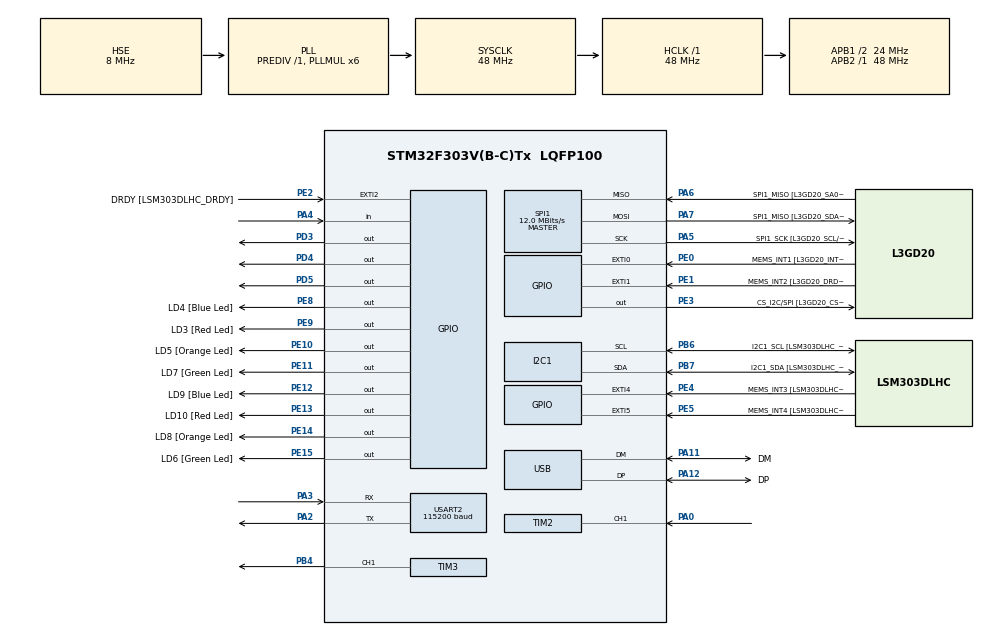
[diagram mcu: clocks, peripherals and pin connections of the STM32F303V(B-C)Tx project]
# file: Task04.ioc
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I2C1.Timing=0x2000090E
I2C1.Timing-I2C=0x2000090E
Mcu.Family=STM32F3
Mcu.Name=STM32F303V(B-C)Tx
Mcu.Package=LQFP100
NVIC.PriorityGroup=NVIC_PRIORITYGROUP_0
NVIC.TIM2_IRQn=true\:0\:0\:false\:false\:true\:true\:true\:true
NVIC.TIM3_IRQn=true\:0\:0\:false\:false\:true\:true\:true\:true
PA0.GPIO_PuPd=GPIO_NOPULL
PA0.Signal=S_TIM2_CH1_ETR
PA11.GPIO_Label=DM
PA11.Mode=Device
PA11.Signal=USB_DM
PA12.GPIO_Label=DP
PA12.Mode=Device
PA12.Signal=USB_DP
PA13.GPIO_Label=SWDIO
PA13.Mode=Serial_Wire
PA13.Signal=SYS_JTMS-SWDIO
PA14.GPIO_Label=SWCLK
PA14.Mode=Serial_Wire
PA14.Signal=SYS_JTCK-SWCLK
PA2.Mode=Asynchronous
PA2.Signal=USART2_TX
PA3.Mode=Asynchronous
PA3.Signal=USART2_RX
PA4.Signal=GPIO_Input
PA5.GPIO_Label=SPI1_SCK [L3GD20_SCL/SPC]
PA5.Mode=Full_Duplex_Master
PA5.Signal=SPI1_SCK
PA6.GPIO_Label=SPI1_MISO [L3GD20_SA0/SDO]
PA6.Mode=Full_Duplex_Master
PA6.Signal=SPI1_MISO
PA7.GPIO_Label=SPI1_MISO [L3GD20_SDA/SDI/SDO]
PA7.Mode=Full_Duplex_Master
PA7.Signal=SPI1_MOSI
PB3.GPIO_Label=SWO
PB3.Signal=SYS_JTDO-TRACESWO
PB4.GPIO_PuPd=GPIO_PULLUP
PB4.Signal=S_TIM3_CH1
PB6.GPIO_Label=I2C1_SCL [LSM303DLHC_SCL]
PB6.GPIO_Pu=GPIO_PULLUP
PB6.Mode=I2C
PB6.Signal=I2C1_SCL
PB7.GPIO_Label=I2C1_SDA [LSM303DLHC_SDA]
PB7.GPIO_Pu=GPIO_PULLUP
PB7.Mode=I2C
PB7.Signal=I2C1_SDA
PC14-OSC32_IN.GPIO_Label=OSC32_IN
PC14-OSC32_IN.Signal=RCC_OSC32_IN
PC15-OSC32_OUT.GPIO_Label=OSC32_OUT
PC15-OSC32_OUT.Signal=RCC_OSC32_OUT
PD3.Signal=GPIO_Output
PD4.Signal=GPIO_Output
PD5.Signal=GPIO_Output
PE0.GPIO_Label=MEMS_INT1 [L3GD20_INT1]
PE0.GPIO_ModeDefaultEXTI=GPIO_MODE_EVT_RISING
PE0.Signal=GPXTI0
PE1.GPIO_Label=MEMS_INT2 [L3GD20_DRDY/INT2]
PE1.GPIO_ModeDefaultEXTI=GPIO_MODE_EVT_RISING
PE1.Signal=GPXTI1
PE10.GPIO_Label=LD5 [Orange Led]
PE10.Signal=GPIO_Output
PE11.GPIO_Label=LD7 [Green Led]
PE11.Signal=GPIO_Output
PE12.GPIO_Label=LD9 [Blue Led]
PE12.Signal=GPIO_Output
PE13.GPIO_Label=LD10 [Red Led]
PE13.Signal=GPIO_Output
PE14.GPIO_Label=LD8 [Orange Led]
PE14.Signal=GPIO_Output
PE15.GPIO_Label=LD6 [Green Led]
PE15.Signal=GPIO_Output
PE2.GPIO_Label=DRDY [LSM303DLHC_DRDY]
PE2.GPIO_ModeDefaultEXTI=GPIO_MODE_EVT_RISING
PE2.Signal=GPXTI2
PE3.GPIO_Label=CS_I2C/SPI [L3GD20_CS_I2C/SPI]
PE3.Signal=GPIO_Output
PE4.GPIO_Label=MEMS_INT3 [LSM303DLHC_INT1]
PE4.GPIO_ModeDefaultEXTI=GPIO_MODE_EVT_RISING
PE4.Signal=GPXTI4
PE5.GPIO_Label=MEMS_INT4 [LSM303DLHC_INT2]
PE5.GPIO_ModeDefaultEXTI=GPIO_MODE_EVT_RISING
PE5.Signal=GPXTI5
PE8.GPIO_Label=LD4 [Blue Led]
PE8.Signal=GPIO_Output
PE9.GPIO_Label=LD3 [Red Led]
PE9.Signal=GPIO_Output
PF0-OSC_IN.GPIO_Label=OSC_IN
PF0-OSC_IN.Mode=HSE-External-Clock-Source
PF0-OSC_IN.Signal=RCC_OSC_IN
PF1-OSC_OUT.GPIO_Label=OSC_OUT
PF1-OSC_OUT.Signal=RCC_OSC_OUT
ProjectManager.HeapSize=0x200
ProjectManager.StackSize=0x400
ProjectManager.TargetToolchain=CMake
RCC.AHBFreq_Value=48000000
RCC.APB1CLKDivider=RCC_HCLK_DIV2
RCC.APB1Freq_Value=24000000
RCC.APB1TimFreq_Value=48000000
RCC.APB2Freq_Value=48000000
RCC.APB2TimFreq_Value=48000000
RCC.CortexFreq_Value=48000000
RCC.HCLKFreq_Value=48000000
RCC.HSE_VALUE=8000000
RCC.HSI_VALUE=8000000
RCC.LSE_VALUE=32768
RCC.PLLMUL=RCC_PLL_MUL6
RCC.SYSCLKFreq_VALUE=48000000
RCC.SYSCLKSourceVirtual=RCC_SYSCLKSOURCE_PLLCLK
RCC.USBFreq_Value=48000000
SH.S_TIM2_CH1_ETR.0=TIM2_CH1,Input_Capture1_from_TI1
SH.S_TIM3_CH1.0=TIM3_CH1,PWM Generation1 CH1
SPI1.BaudRatePrescaler=SPI_BAUDRATEPRESCALER_4
SPI1.BaudRatePrescaler-Full_Duplex_Master=SPI_BAUDRATEPRESCALER_2
SPI1.CalculateBaudRate=12.0 MBits/s
SPI1.CalculateBaudRate-Full_Duplex_Master=24.0 MBits/s
SPI1.Direction=SPI_DIRECTION_2LINES
SPI1.Mode=SPI_MODE_MASTER
SPI1.Mode-Full_Duplex_Master=SPI_MODE_MASTER
SPI1.VirtualType=VM_MASTER
TIM2.Channel-Input_Capture1_from_TI1=TIM_CHANNEL_1
TIM2.Prescaler=71
TIM3.Channel-PWM\ Generation1\ CH1=TIM_CHANNEL_1
TIM3.Period=999
TIM3.Prescaler=47
USART2.BaudRate=115200
USART2.VirtualMode-Asynchronous=VM_ASYNC
board=STM32F3DISCOVERY

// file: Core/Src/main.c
/* USER CODE BEGIN Header */
/**
  ******************************************************************************
  * @file           : main.c
  * @brief          : Main program body
  ******************************************************************************
  * @attention
  *
  * Copyright (c) 2026 STMicroelectronics.
  * All rights reserved.
  *
  * This software is licensed under terms that can be found in the LICENSE file
  * in the root directory of this software component.
  * If no LICENSE file comes with this software, it is provided AS-IS.
  *
  ******************************************************************************
  */
/* USER CODE END Header */
#include "main.h"
#include "stdio.h"
#include "string.h"
#include "stdlib.h"

I2C_HandleTypeDef hi2c1;

SPI_HandleTypeDef hspi1;

TIM_HandleTypeDef htim2;
TIM_HandleTypeDef htim3;

UART_HandleTypeDef huart2;

PCD_HandleTypeDef hpcd_USB_FS;

void SystemClock_Config(void);
static void MX_GPIO_Init(void);
static void MX_I2C1_Init(void);
static void MX_SPI1_Init(void);
static void MX_TIM2_Init(void);
static void MX_TIM3_Init(void);
static void MX_USART2_UART_Init(void);
static void MX_USB_PCD_Init(void);

/* USER CODE BEGIN 0 */
void forward_motor(){

    HAL_GPIO_WritePin(GPIOD, GPIO_PIN_4, GPIO_PIN_SET);
    HAL_GPIO_WritePin(GPIOD, GPIO_PIN_5, GPIO_PIN_RESET);

    uint32_t ARR = 999;
    __HAL_TIM_SET_COMPARE(&htim3, TIM_CHANNEL_1 , ARR);
  }
  void backward_motor(){
    HAL_GPIO_WritePin(GPIOD, GPIO_PIN_4, GPIO_PIN_RESET);
    HAL_GPIO_WritePin(GPIOD, GPIO_PIN_5, GPIO_PIN_SET);

    uint32_t ARR = 999;
    __HAL_TIM_SET_COMPARE(&htim3, TIM_CHANNEL_1 , ARR);
}

volatile int interrupt_count = 0;
volatile uint32_t arr[21];
volatile int print = 0;
void HAL_TIM_IC_CaptureCallback(TIM_HandleTypeDef *htim){
    if (htim->Instance == TIM2){
        uint32_t captured = HAL_TIM_ReadCapturedValue(htim, TIM_CHANNEL_1);
        interrupt_count++;
        if (interrupt_count == 1){
            __HAL_TIM_SET_COUNTER(&htim2, 0);
        }
        if ((interrupt_count > 1) && (interrupt_count < 22)){
            arr[interrupt_count - 2] = captured;
            __HAL_TIM_SET_COUNTER(&htim2, 0);
        }

        if (interrupt_count == 22){
            print = 1;
            interrupt_count = 0;
        }
    }
}
/* USER CODE END 0 */

int main(void)
{

  /* MCU Configuration--------------------------------------------------------*/

  /* Reset of all peripherals, Initializes the Flash interface and the Systick. */
  HAL_Init();

  /* Configure the system clock */
  SystemClock_Config();

  /* Initialize all configured peripherals */
  MX_GPIO_Init();
  MX_I2C1_Init();
  MX_SPI1_Init();
  MX_TIM2_Init();
  MX_TIM3_Init();
  MX_USART2_UART_Init();
  MX_USB_PCD_Init();
  /* USER CODE BEGIN 2 */
  HAL_TIM_PWM_Start(&htim3, TIM_CHANNEL_1);
  HAL_TIM_IC_Start_IT(&htim2, TIM_CHANNEL_1);
  forward_motor();
  HAL_UART_Transmit(&huart2, (uint8_t*)"Started\r\n", 9, HAL_MAX_DELAY);

  /* USER CODE END 2 */

  /* Infinite loop */
  /* USER CODE BEGIN WHILE */
  while (1)
  {
      if (print == 1)
      {
          print = 0;  // reset

          uint32_t sum = 0;
          for (int i = 0; i < 20; i++) sum += arr[i];  // 20 samples
          float ticks = (float)sum / 20.0f;

          if (ticks > 0)
          {
              float freq = 666666.0f / ticks;
              float rpm  = (60.0f * freq) / 330.0f;

              char buf[64];
              int len = snprintf(buf, sizeof(buf), "Freq: %.2f Hz | RPM: %.2f\r\n", freq, rpm);
              HAL_UART_Transmit(&huart2, (uint8_t*)buf, len, 100);
          }
      }
  }
  /* USER CODE END 3 */
}

void SystemClock_Config(void)
{
  RCC_OscInitTypeDef RCC_OscInitStruct = {0};
  RCC_ClkInitTypeDef RCC_ClkInitStruct = {0};
  RCC_PeriphCLKInitTypeDef PeriphClkInit = {0};

  /** Initializes the RCC Oscillators according to the specified parameters
  * in the RCC_OscInitTypeDef structure.
  */
  RCC_OscInitStruct.OscillatorType = RCC_OSCILLATORTYPE_HSI|RCC_OSCILLATORTYPE_HSE;
  RCC_OscInitStruct.HSEState = RCC_HSE_BYPASS;
  RCC_OscInitStruct.HSEPredivValue = RCC_HSE_PREDIV_DIV1;
  RCC_OscInitStruct.HSIState = RCC_HSI_ON;
  RCC_OscInitStruct.HSICalibrationValue = RCC_HSICALIBRATION_DEFAULT;
  RCC_OscInitStruct.PLL.PLLState = RCC_PLL_ON;
  RCC_OscInitStruct.PLL.PLLSource = RCC_PLLSOURCE_HSE;
  RCC_OscInitStruct.PLL.PLLMUL = RCC_PLL_MUL6;
  if (HAL_RCC_OscConfig(&RCC_OscInitStruct) != HAL_OK)
  {
    Error_Handler();
  }

  /** Initializes the CPU, AHB and APB buses clocks
  */
  RCC_ClkInitStruct.ClockType = RCC_CLOCKTYPE_HCLK|RCC_CLOCKTYPE_SYSCLK
                              |RCC_CLOCKTYPE_PCLK1|RCC_CLOCKTYPE_PCLK2;
  RCC_ClkInitStruct.SYSCLKSource = RCC_SYSCLKSOURCE_PLLCLK;
  RCC_ClkInitStruct.AHBCLKDivider = RCC_SYSCLK_DIV1;
  RCC_ClkInitStruct.APB1CLKDivider = RCC_HCLK_DIV2;
  RCC_ClkInitStruct.APB2CLKDivider = RCC_HCLK_DIV1;

  if (HAL_RCC_ClockConfig(&RCC_ClkInitStruct, FLASH_LATENCY_1) != HAL_OK)
  {
    Error_Handler();
  }
  PeriphClkInit.PeriphClockSelection = RCC_PERIPHCLK_USB|RCC_PERIPHCLK_USART2
                              |RCC_PERIPHCLK_I2C1;
  PeriphClkInit.Usart2ClockSelection = RCC_USART2CLKSOURCE_PCLK1;
  PeriphClkInit.I2c1ClockSelection = RCC_I2C1CLKSOURCE_HSI;
  PeriphClkInit.USBClockSelection = RCC_USBCLKSOURCE_PLL;
  if (HAL_RCCEx_PeriphCLKConfig(&PeriphClkInit) != HAL_OK)
  {
    Error_Handler();
  }
}

static void MX_I2C1_Init(void)
{

  hi2c1.Instance = I2C1;
  hi2c1.Init.Timing = 0x2000090E;
  hi2c1.Init.OwnAddress1 = 0;
  hi2c1.Init.AddressingMode = I2C_ADDRESSINGMODE_7BIT;
  hi2c1.Init.DualAddressMode = I2C_DUALADDRESS_DISABLE;
  hi2c1.Init.OwnAddress2 = 0;
  hi2c1.Init.OwnAddress2Masks = I2C_OA2_NOMASK;
  hi2c1.Init.GeneralCallMode = I2C_GENERALCALL_DISABLE;
  hi2c1.Init.NoStretchMode = I2C_NOSTRETCH_DISABLE;
  if (HAL_I2C_Init(&hi2c1) != HAL_OK)
  {
    Error_Handler();
  }

  /** Configure Analogue filter
  */
  if (HAL_I2CEx_ConfigAnalogFilter(&hi2c1, I2C_ANALOGFILTER_ENABLE) != HAL_OK)
  {
    Error_Handler();
  }

  /** Configure Digital filter
  */
  if (HAL_I2CEx_ConfigDigitalFilter(&hi2c1, 0) != HAL_OK)
  {
    Error_Handler();
  }

}

static void MX_SPI1_Init(void)
{

  /* SPI1 parameter configuration*/
  hspi1.Instance = SPI1;
  hspi1.Init.Mode = SPI_MODE_MASTER;
  hspi1.Init.Direction = SPI_DIRECTION_2LINES;
  hspi1.Init.DataSize = SPI_DATASIZE_4BIT;
  hspi1.Init.CLKPolarity = SPI_POLARITY_LOW;
  hspi1.Init.CLKPhase = SPI_PHASE_1EDGE;
  hspi1.Init.NSS = SPI_NSS_SOFT;
  hspi1.Init.BaudRatePrescaler = SPI_BAUDRATEPRESCALER_4;
  hspi1.Init.FirstBit = SPI_FIRSTBIT_MSB;
  hspi1.Init.TIMode = SPI_TIMODE_DISABLE;
  hspi1.Init.CRCCalculation = SPI_CRCCALCULATION_DISABLE;
  hspi1.Init.CRCPolynomial = 7;
  hspi1.Init.CRCLength = SPI_CRC_LENGTH_DATASIZE;
  hspi1.Init.NSSPMode = SPI_NSS_PULSE_ENABLE;
  if (HAL_SPI_Init(&hspi1) != HAL_OK)
  {
    Error_Handler();
  }

}

static void MX_TIM2_Init(void)
{

  TIM_MasterConfigTypeDef sMasterConfig = {0};
  TIM_IC_InitTypeDef sConfigIC = {0};

  htim2.Instance = TIM2;
  htim2.Init.Prescaler = 71;
  htim2.Init.CounterMode = TIM_COUNTERMODE_UP;
  htim2.Init.Period = 4294967295;
  htim2.Init.ClockDivision = TIM_CLOCKDIVISION_DIV1;
  htim2.Init.AutoReloadPreload = TIM_AUTORELOAD_PRELOAD_DISABLE;
  if (HAL_TIM_IC_Init(&htim2) != HAL_OK)
  {
    Error_Handler();
  }
  sMasterConfig.MasterOutputTrigger = TIM_TRGO_RESET;
  sMasterConfig.MasterSlaveMode = TIM_MASTERSLAVEMODE_DISABLE;
  if (HAL_TIMEx_MasterConfigSynchronization(&htim2, &sMasterConfig) != HAL_OK)
  {
    Error_Handler();
  }
  sConfigIC.ICPolarity = TIM_INPUTCHANNELPOLARITY_RISING;
  sConfigIC.ICSelection = TIM_ICSELECTION_DIRECTTI;
  sConfigIC.ICPrescaler = TIM_ICPSC_DIV1;
  sConfigIC.ICFilter = 0;
  if (HAL_TIM_IC_ConfigChannel(&htim2, &sConfigIC, TIM_CHANNEL_1) != HAL_OK)
  {
    Error_Handler();
  }

}

static void MX_TIM3_Init(void)
{

  TIM_MasterConfigTypeDef sMasterConfig = {0};
  TIM_OC_InitTypeDef sConfigOC = {0};

  htim3.Instance = TIM3;
  htim3.Init.Prescaler = 47;
  htim3.Init.CounterMode = TIM_COUNTERMODE_UP;
  htim3.Init.Period = 999;
  htim3.Init.ClockDivision = TIM_CLOCKDIVISION_DIV1;
  htim3.Init.AutoReloadPreload = TIM_AUTORELOAD_PRELOAD_DISABLE;
  if (HAL_TIM_PWM_Init(&htim3) != HAL_OK)
  {
    Error_Handler();
  }
  sMasterConfig.MasterOutputTrigger = TIM_TRGO_RESET;
  sMasterConfig.MasterSlaveMode = TIM_MASTERSLAVEMODE_DISABLE;
  if (HAL_TIMEx_MasterConfigSynchronization(&htim3, &sMasterConfig) != HAL_OK)
  {
    Error_Handler();
  }
  sConfigOC.OCMode = TIM_OCMODE_PWM1;
  sConfigOC.Pulse = 0;
  sConfigOC.OCPolarity = TIM_OCPOLARITY_HIGH;
  sConfigOC.OCFastMode = TIM_OCFAST_DISABLE;
  if (HAL_TIM_PWM_ConfigChannel(&htim3, &sConfigOC, TIM_CHANNEL_1) != HAL_OK)
  {
    Error_Handler();
  }
  HAL_TIM_MspPostInit(&htim3);

}

static void MX_USART2_UART_Init(void)
{

  huart2.Instance = USART2;
  huart2.Init.BaudRate = 115200;
  huart2.Init.WordLength = UART_WORDLENGTH_8B;
  huart2.Init.StopBits = UART_STOPBITS_1;
  huart2.Init.Parity = UART_PARITY_NONE;
  huart2.Init.Mode = UART_MODE_TX_RX;
  huart2.Init.HwFlowCtl = UART_HWCONTROL_NONE;
  huart2.Init.OverSampling = UART_OVERSAMPLING_16;
  huart2.Init.OneBitSampling = UART_ONE_BIT_SAMPLE_DISABLE;
  huart2.AdvancedInit.AdvFeatureInit = UART_ADVFEATURE_NO_INIT;
  if (HAL_UART_Init(&huart2) != HAL_OK)
  {
    Error_Handler();
  }

}

static void MX_USB_PCD_Init(void)
{

  hpcd_USB_FS.Instance = USB;
  hpcd_USB_FS.Init.dev_endpoints = 8;
  hpcd_USB_FS.Init.speed = PCD_SPEED_FULL;
  hpcd_USB_FS.Init.phy_itface = PCD_PHY_EMBEDDED;
  hpcd_USB_FS.Init.low_power_enable = DISABLE;
  hpcd_USB_FS.Init.battery_charging_enable = DISABLE;
  if (HAL_PCD_Init(&hpcd_USB_FS) != HAL_OK)
  {
    Error_Handler();
  }

}

static void MX_GPIO_Init(void)
{
  GPIO_InitTypeDef GPIO_InitStruct = {0};

  /* GPIO Ports Clock Enable */
  __HAL_RCC_GPIOE_CLK_ENABLE();
  __HAL_RCC_GPIOC_CLK_ENABLE();
  __HAL_RCC_GPIOF_CLK_ENABLE();
  __HAL_RCC_GPIOA_CLK_ENABLE();
  __HAL_RCC_GPIOD_CLK_ENABLE();
  __HAL_RCC_GPIOB_CLK_ENABLE();

  /*Configure GPIO pin Output Level */
  HAL_GPIO_WritePin(GPIOE, CS_I2C_SPI_Pin|LD4_Pin|LD3_Pin|LD5_Pin
                          |LD7_Pin|LD9_Pin|LD10_Pin|LD8_Pin
                          |LD6_Pin, GPIO_PIN_RESET);

  /*Configure GPIO pin Output Level */
  HAL_GPIO_WritePin(GPIOD, GPIO_PIN_3|GPIO_PIN_4|GPIO_PIN_5, GPIO_PIN_RESET);

  /*Configure GPIO pins : DRDY_Pin MEMS_INT3_Pin MEMS_INT4_Pin MEMS_INT1_Pin
                           MEMS_INT2_Pin */
  GPIO_InitStruct.Pin = DRDY_Pin|MEMS_INT3_Pin|MEMS_INT4_Pin|MEMS_INT1_Pin
                          |MEMS_INT2_Pin;
  GPIO_InitStruct.Mode = GPIO_MODE_EVT_RISING;
  GPIO_InitStruct.Pull = GPIO_NOPULL;
  HAL_GPIO_Init(GPIOE, &GPIO_InitStruct);

  /*Configure GPIO pins : CS_I2C_SPI_Pin LD4_Pin LD3_Pin LD5_Pin
                           LD7_Pin LD9_Pin LD10_Pin LD8_Pin
                           LD6_Pin */
  GPIO_InitStruct.Pin = CS_I2C_SPI_Pin|LD4_Pin|LD3_Pin|LD5_Pin
                          |LD7_Pin|LD9_Pin|LD10_Pin|LD8_Pin
                          |LD6_Pin;
  GPIO_InitStruct.Mode = GPIO_MODE_OUTPUT_PP;
  GPIO_InitStruct.Pull = GPIO_NOPULL;
  GPIO_InitStruct.Speed = GPIO_SPEED_FREQ_LOW;
  HAL_GPIO_Init(GPIOE, &GPIO_InitStruct);

  /*Configure GPIO pin : PA4 */
  GPIO_InitStruct.Pin = GPIO_PIN_4;
  GPIO_InitStruct.Mode = GPIO_MODE_INPUT;
  GPIO_InitStruct.Pull = GPIO_NOPULL;
  HAL_GPIO_Init(GPIOA, &GPIO_InitStruct);

  /*Configure GPIO pins : PD3 PD4 PD5 */
  GPIO_InitStruct.Pin = GPIO_PIN_3|GPIO_PIN_4|GPIO_PIN_5;
  GPIO_InitStruct.Mode = GPIO_MODE_OUTPUT_PP;
  GPIO_InitStruct.Pull = GPIO_NOPULL;
  GPIO_InitStruct.Speed = GPIO_SPEED_FREQ_LOW;
  HAL_GPIO_Init(GPIOD, &GPIO_InitStruct);

}

void Error_Handler(void)
{
  __disable_irq();
  while (1)
  {
  }
}
